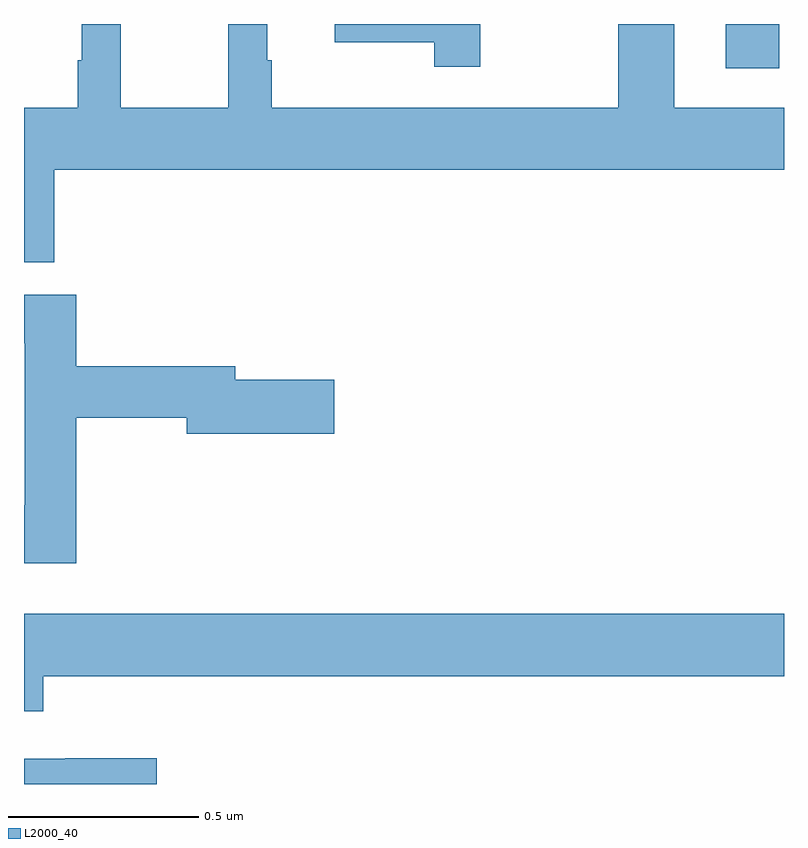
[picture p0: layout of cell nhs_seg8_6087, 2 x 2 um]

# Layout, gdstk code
import gdstk
lib = gdstk.Library(unit=1e-6, precision=1e-09)
def R(c, l, rs):  # rectangles x0, y0, x1, y1
    for r in rs: c.add(gdstk.rectangle(r[:2], r[2:], *l))
def P(c, l, *ps):  # polygons
    for p in ps: c.add(gdstk.Polygon(p, *l))
L2000_40 = (2000, 40)

nhs_seg8_6087 = lib.new_cell('nhs_seg8_6087')
R(nhs_seg8_6087, L2000_40, [(193.847,1100.784,193.987,1100.9)])
P(nhs_seg8_6087, L2000_40, [(192.08,1100.516),(194,1100.516),(194,1100.68),(193.711,1100.68),(193.711,1100.9),(193.564,1100.9),(193.564,1100.68),(192.652,1100.68),(192.652,1100.804),(192.64,1100.804),(192.64,1100.9),(192.538,1100.9),(192.538,1100.68),(192.254,1100.68),(192.254,1100.9),(192.152,1100.9),(192.152,1100.804),(192.141,1100.804),(192.141,1100.68),(192,1100.68),(192,1100.273),(192.08,1100.273)],
  [(193.201,1100.9),(192.818,1100.9),(192.818,1100.852),(193.08,1100.852),(193.08,1100.787),(193.201,1100.787)],
  [(192.137,1099.864),(192.428,1099.864),(192.428,1099.822),(192.817,1099.822),(192.817,1099.964),(192.556,1099.964),(192.556,1100),(192.137,1100),(192.137,1100.188),(192,1100.188),(192,1100.06),(192.002,1100.06),(192.002,1099.633),(192,1099.633),(192,1099.481),(192.137,1099.481)],
  [(192,1099.091),(192.05,1099.091),(192.05,1099.184),(194,1099.184),(194,1099.348),(192,1099.348)],
  [(192.349,1098.968),(192.108,1098.968),(192.108,1098.966),(192,1098.966),(192,1098.9),(192.349,1098.9)])

lib.write_gds('nhs_seg8_6087.gds')
